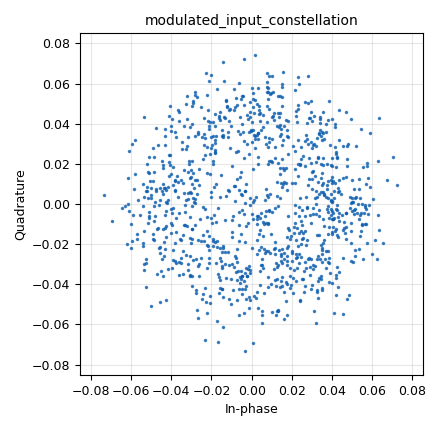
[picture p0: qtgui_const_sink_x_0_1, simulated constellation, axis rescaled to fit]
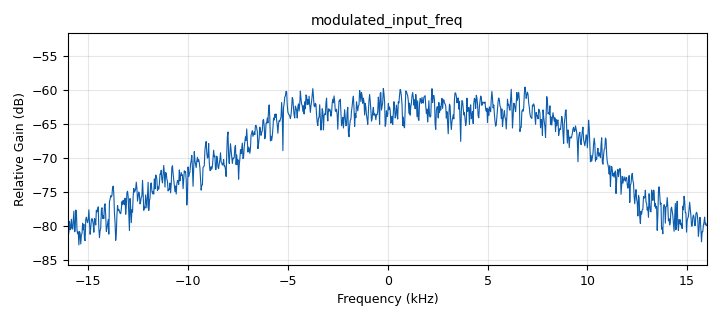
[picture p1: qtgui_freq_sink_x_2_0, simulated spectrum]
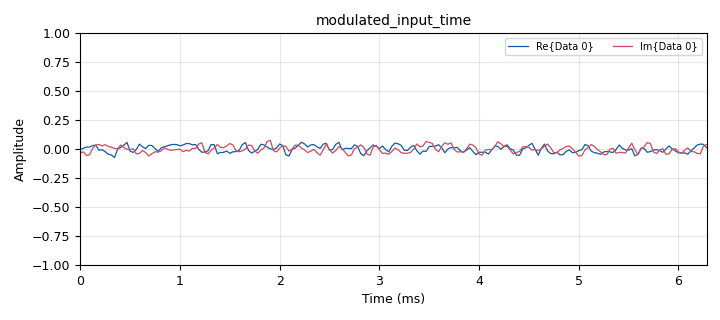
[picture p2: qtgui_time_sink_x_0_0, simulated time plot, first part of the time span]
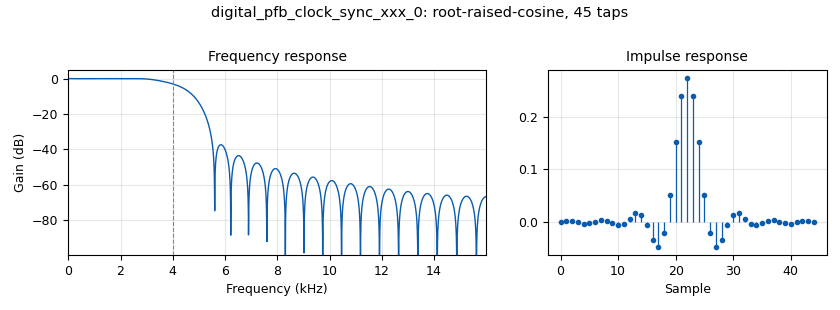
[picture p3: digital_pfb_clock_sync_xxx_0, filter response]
options:
  parameters:
    author: J. Gier
    generate_options: qt_gui
    id: qpsk_trial1
    output_language: python
    title: QPSK Modulator / Demodulator
  states: {}

blocks:
- name: cma_alg
  id: variable_adaptive_algorithm
  parameters:
    cons: qpsk
    modulus: '2'
    step_size: '100e-6'
    type: cma
  states: {}
- name: excess_bw
  id: variable
  parameters:
    value: '0.350'
  states: {}
- name: freq_offset
  id: variable_qtgui_range
  parameters:
    label: 'Channel: Freq Offset'
    start: '-100e-3'
    step: '10e-3'
    stop: '100e-3'
    value: '25e-3'
  states: {}
- name: nfilts
  id: variable
  parameters:
    value: '32'
  states: {}
- name: noise_volt
  id: variable_qtgui_range
  parameters:
    label: 'Channel: Noise Voltage'
    start: '0'
    step: '100e-3'
    stop: '500e-3'
    value: '0.2'
  states: {}
- name: phase_bw
  id: variable
  parameters:
    value: '62.8e-3'
  states: {}
- name: qpsk
  id: variable_constellation_rect
  parameters:
    const_points: '[-1-1j, -1+1j, 1+1j, 1-1j]'
    imag_sect: '2'
    real_sect: '2'
    rot_sym: '4'
    sym_map: '[0, 1, 3, 2]'
    w_imag_sect: '1'
    w_real_sect: '1'
  states: {}
- name: rrc_taps
  id: variable
  parameters:
    value: firdes.root_raised_cosine(1.0,samp_rate,samp_rate/sps,excess_bw,11*sps+1)
  states: {}
- name: samp_rate
  id: variable
  parameters:
    value: 32e3
  states: {}
- name: sps
  id: variable
  parameters:
    value: '4'
  states: {}
- name: time_offset
  id: variable_qtgui_range
  parameters:
    label: 'Channel: time offset'
    start: '999e-3'
    step: '100e-6'
    stop: '1.001'
    value: '1.0005'
  states: {}
- name: analog_random_source_x_0
  id: analog_random_source_x
  parameters:
    max: '256'
    min: '0'
    num_samps: '10000'
    repeat: 'True'
    type: byte
  states: {}
- name: blocks_file_sink_0
  id: blocks_file_sink
  parameters:
    file: C:\Users\JoshGier\Desktop\Comms_Testing\gnu_radio_git\qpsk\files\outfile.txt
    type: byte
  states: {state: disabled}
- name: blocks_file_source_0
  id: blocks_file_source
  parameters:
    file: C:\Users\JoshGier\Desktop\Comms_Testing\gnu_radio_git\qpsk\files\infile.txt
    repeat: 'True'
    type: byte
  states: {state: disabled}
- name: blocks_pack_k_bits_bb_0
  id: blocks_pack_k_bits_bb
  parameters:
    k: '8'
  states: {state: disabled}
- name: blocks_throttle2_0
  id: blocks_throttle2
  parameters:
    samples_per_second: samp_rate
    type: complex
  states: {}
- name: blocks_unpack_k_bits_bb_0
  id: blocks_unpack_k_bits_bb
  parameters:
    k: '8'
  states: {state: disabled}
- name: channels_channel_model_0
  id: channels_channel_model
  parameters:
    epsilon: time_offset
    freq_offset: freq_offset
    noise_voltage: noise_volt
    seed: '0'
    taps: '1.0'
  states: {}
- name: digital_constellation_modulator_0
  id: digital_constellation_modulator
  parameters:
    constellation: qpsk
    differential: 'True'
    excess_bw: excess_bw
    samples_per_symbol: sps
  states: {}
- name: digital_costas_loop_cc_0
  id: digital_costas_loop_cc
  parameters:
    order: sps
    use_snr: 'True'
    w: 2*3.14/100
  states: {state: disabled}
- name: digital_linear_equalizer_0
  id: digital_linear_equalizer
  parameters:
    alg: cma_alg
    num_taps: '15'
    sps: '2'
    training_sequence: '[]'
  states: {state: disabled}
- name: digital_pfb_clock_sync_xxx_0
  id: digital_pfb_clock_sync_xxx
  parameters:
    filter_size: '32'
    init_phase: '16'
    loop_bw: 2*3.14/100
    max_dev: '1.5'
    osps: '2'
    sps: sps
    taps: rrc_taps
    type: ccf
  states: {}
- name: digital_symbol_sync_xx_0
  id: digital_symbol_sync_xx
  parameters:
    damping: '1.0'
    loop_bw: phase_bw
    max_dev: '1.5'
    nfilters: '32'
    osps: '2'
    pfb_mf_taps: rrc_taps
    resamp_type: digital.IR_PFB_MF
    sps: sps
    ted_gain: '1.0'
    ted_type: digital.TED_SIGNAL_TIMES_SLOPE_ML
    type: cc
  states: {state: disabled}
- name: note_0
  id: note
  parameters:
    note: 'Source: https://wiki.gnuradio.org/index.php?title=QPSK_Mod_and_Demod#Objectives'
  states: {}
- name: note_0_0
  id: note
  parameters:
    note: Used to reduce ISI and multipath
  states: {state: disabled}
- name: qtgui_const_sink_x_0
  id: qtgui_const_sink_x
  parameters:
    name: modulated_input_constellation
    size: '1024'
    type: complex
  states: {state: disabled}
- name: qtgui_const_sink_x_0_0
  id: qtgui_const_sink_x
  parameters:
    name: post-equalizer
    size: '1024'
    type: complex
  states: {state: disabled}
- name: qtgui_const_sink_x_0_0_0
  id: qtgui_const_sink_x
  parameters:
    name: post_costas
    size: '1024'
    type: complex
  states: {state: disabled}
- name: qtgui_const_sink_x_0_1
  id: qtgui_const_sink_x
  parameters:
    name: modulated_input_constellation
    size: '1024'
    type: complex
  states: {}
- name: qtgui_freq_sink_x_2
  id: qtgui_freq_sink_x
  parameters:
    autoscale: 'True'
    average: '0.05'
    bw: samp_rate
    fc: '0'
    fftsize: '1024'
    name: modulated_input_freq
    type: complex
    ymin: '-10'
  states: {state: disabled}
- name: qtgui_freq_sink_x_2_0
  id: qtgui_freq_sink_x
  parameters:
    autoscale: 'True'
    average: '0.05'
    bw: samp_rate
    fc: '0'
    fftsize: '1024'
    name: modulated_input_freq
    type: complex
    ymin: '-10'
  states: {}
- name: qtgui_time_sink_x_0
  id: qtgui_time_sink_x
  parameters:
    name: modulated_input_time
    size: '1024'
    srate: samp_rate
    type: complex
  states: {state: disabled}
- name: qtgui_time_sink_x_0_0
  id: qtgui_time_sink_x
  parameters:
    name: modulated_input_time
    size: '1024'
    srate: samp_rate
    type: complex
  states: {}
- name: virtual_sink_0
  id: virtual_sink
  parameters:
    stream_id: r1
  states: {state: disabled}
- name: virtual_source_0
  id: virtual_source
  parameters:
    stream_id: r1
  states: {state: disabled}

connections:
- [analog_random_source_x_0, '0', digital_constellation_modulator_0, '0']
- [blocks_file_source_0, '0', blocks_unpack_k_bits_bb_0, '0']
- [blocks_pack_k_bits_bb_0, '0', blocks_file_sink_0, '0']
- [blocks_throttle2_0, '0', channels_channel_model_0, '0']
- [blocks_throttle2_0, '0', qtgui_const_sink_x_0, '0']
- [blocks_throttle2_0, '0', qtgui_freq_sink_x_2, '0']
- [blocks_throttle2_0, '0', qtgui_time_sink_x_0, '0']
- [channels_channel_model_0, '0', digital_pfb_clock_sync_xxx_0, '0']
- [channels_channel_model_0, '0', digital_symbol_sync_xx_0, '0']
- [channels_channel_model_0, '0', qtgui_const_sink_x_0, '0']
- [channels_channel_model_0, '0', qtgui_time_sink_x_0, '0']
- [digital_constellation_modulator_0, '0', blocks_throttle2_0, '0']
- [digital_costas_loop_cc_0, '0', qtgui_const_sink_x_0_0_0, '0']
- [digital_linear_equalizer_0, '0', qtgui_const_sink_x_0_0, '0']
- [digital_linear_equalizer_0, '0', virtual_sink_0, '0']
- [digital_pfb_clock_sync_xxx_0, '0', qtgui_const_sink_x_0_1, '0']
- [digital_pfb_clock_sync_xxx_0, '0', qtgui_freq_sink_x_2_0, '0']
- [digital_pfb_clock_sync_xxx_0, '0', qtgui_time_sink_x_0_0, '0']
- [digital_symbol_sync_xx_0, '0', digital_linear_equalizer_0, '0']
- [digital_symbol_sync_xx_0, '0', qtgui_const_sink_x_0_1, '0']
- [digital_symbol_sync_xx_0, '0', qtgui_freq_sink_x_2_0, '0']
- [digital_symbol_sync_xx_0, '0', qtgui_time_sink_x_0_0, '0']
- [virtual_source_0, '0', digital_costas_loop_cc_0, '0']

metadata:
  file_format: 1
  grc_version: 3.10.12.0
